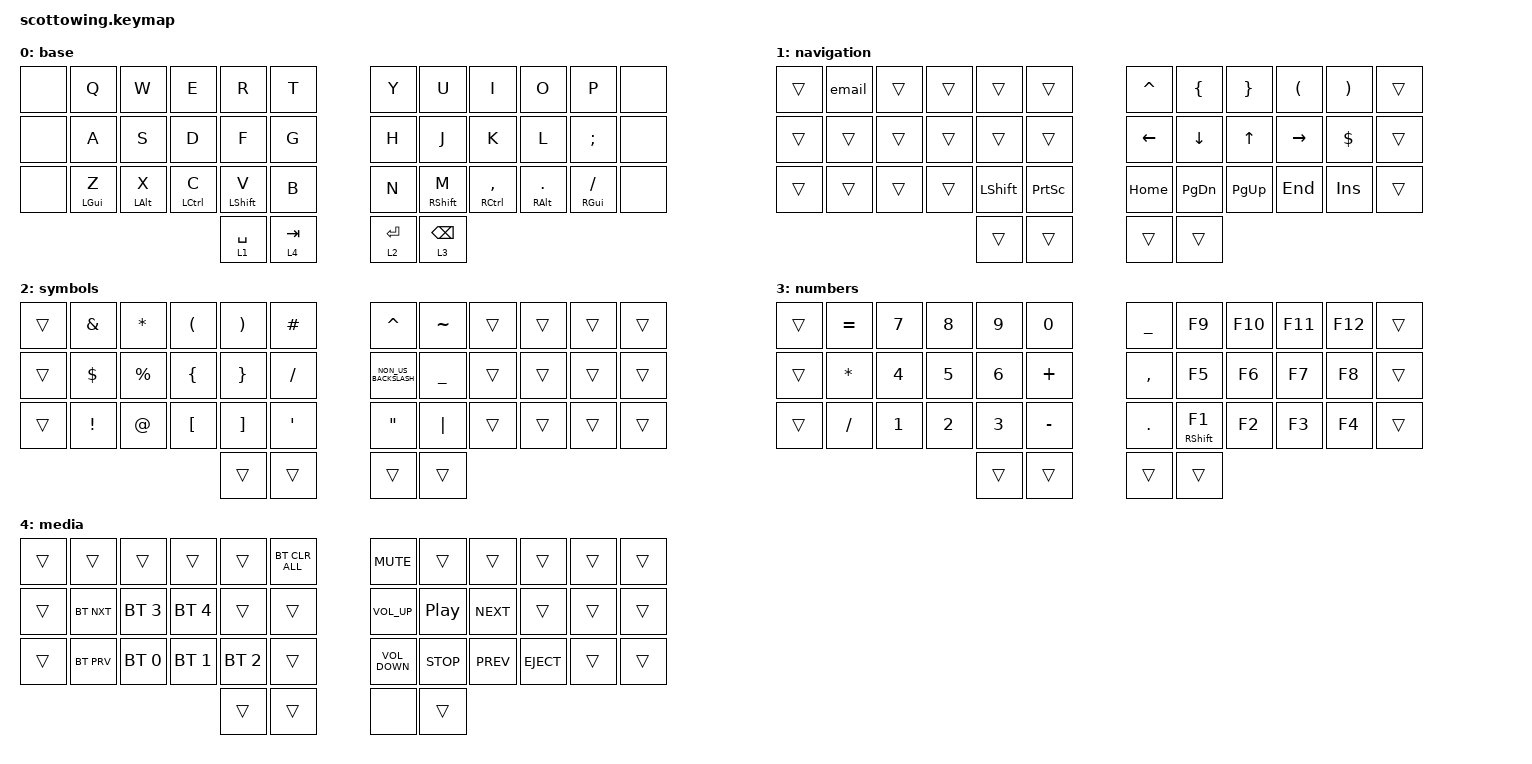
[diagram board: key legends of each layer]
#include <behaviors.dtsi>
#include <dt-bindings/zmk/bt.h>
#include <dt-bindings/zmk/keys.h>

#define MAC 0
#define MAC_CODE 1
#define MAC_NUMBER 2
#define MAC_FUNCTION 3
#define WINDOWS 4
#define WINDOWS_CODE 5
#define WINDOWS_NUMBER 6
#define WINDOWS_FUNCTION 7

// Home row mods macro
//#define HRML(k1,k2,k3,k4) &ht LSHFT k1  &ht LALT k2  &ht LCTRL k3  &ht LGUI k4

#define HRML(k1,k2,k3,k4) &ht LGUI k1  &ht LALT k2  &ht LCTRL k3  &ht LSHFT k4
#define HRMR(k1,k2,k3,k4) &ht RSHFT k1  &ht RCTRL k2  &ht RALT k3  &ht RGUI k4

//#define HRMR(k1,k2,k3,k4) &ht RGUI k1  &ht RCTRL k2  &ht RALT k3  &ht RSHFT k4

#define DEF 0
#define NAV 1
#define SYM 2
#define NUM 3
#define MED 4

/ {
    behaviors {
        ht: hold_tap {
            compatible = "zmk,behavior-hold-tap";
            #binding-cells = <2>;
            flavor = "tap-preferred";
            tapping-term-ms = <220>;
            quick-tap-ms = <150>;
            require-prior-idle-ms = <100>;
            bindings = <&kp>, <&kp>;
        };
    };

    combos {
        compatible = "zmk,combos";

        combo_esc {
            timeout-ms = <50>;

            // keys: R U

            key-positions = <4 3>;
            bindings = <&kp ESC>;
            layers = <0>;
        };

        combo_minus {
            timeout-ms = <50>;

            // keys: T Y

            key-positions = <5 6>;
            bindings = <&kp MINUS>;
            layers = <0>;
        };

        combo_backspace {
            timeout-ms = <50>;

            // keys: V M

            key-positions = <31 32>;
            bindings = <&kp BSPC>;
            layers = <0>;
        };

        combo_under {
            timeout-ms = <50>;

            // keys: B N

            key-positions = <29 30>;
            bindings = <&kp UNDER>;
            layers = <0>;
        };

        combo_capsw {
            timeout-ms = <50>;

            // keys: E I

            key-positions = <7 4>;
            bindings = <&caps_word>;
            layers = <0>;
        };

        conbo_tab {
            bindings = <&kp TAB>;
            key-positions = <27 28>;
            layers = <0>;
        };

        combo_delete {
            bindings = <&kp DEL>;
            key-positions = <7 8>;
        };
    };

    //    conditional_layers {
    //        compatible = "zmk,conditional-layers";
    //        tri_layer {
    //            if-layers = <1 2 3>;
    //            then-layer = <3>;
    //        };
    //    };

    macros {
        email: email {
            compatible = "zmk,behavior-macro";
            #binding-cells = <0>;
            bindings = <&kp P &kp T &kp R &kp S &kp H &kp O &kp P &kp P &kp I &kp N &kp G &kp AT &kp P &kp R &kp O &kp T &kp O &kp N &kp M &kp A &kp I &kp L &kp DOT &kp C &kp O &kp M>;
            label = "EMAIL";
        };
    };

    keymap {
        compatible = "zmk,keymap";

        base {
            bindings = <
&none  &kp Q           &kp W           &kp E        &kp R             &kp T      &kp Y        &kp U              &kp I            &kp O                 &kp P                &none
&none  &kp A           &kp S           &kp D        &kp F             &kp G      &kp H        &kp J              &kp K            &kp L                 &kp SEMICOLON        &none
&none  &mt LEFT_GUI Z  &mt LEFT_ALT X  &mt LCTRL C  &mt LEFT_SHIFT V  &kp B      &kp N        &mt RIGHT_SHIFT M  &mt RCTRL COMMA  &mt RIGHT_ALT PERIOD  &mt RIGHT_GUI SLASH  &none
                                                    &lt 1 SPACE       &lt 4 TAB  &lt 2 ENTER  &lt 3 BACKSPACE
            >;
        };

        navigation {
            bindings = <
&trans  &email  &trans  &trans  &trans          &trans           &kp CARET       &kp LEFT_BRACE  &kp RIGHT_BRACE  &kp LEFT_PARENTHESIS  &kp RIGHT_PARENTHESIS  &trans
&trans  &trans  &trans  &trans  &trans          &trans           &kp LEFT_ARROW  &kp DOWN        &kp UP           &kp RIGHT_ARROW       &kp DOLLAR             &trans
&trans  &trans  &trans  &trans  &kp LEFT_SHIFT  &kp PRINTSCREEN  &kp HOME        &kp PAGE_DOWN   &kp PAGE_UP      &kp END               &kp INS                &trans
                                &trans          &trans           &trans          &trans
            >;
        };

        symbols {
            bindings = <
&trans  &kp AMPERSAND    &kp ASTERISK  &kp LEFT_PARENTHESIS  &kp RIGHT_PARENTHESIS  &kp HASH          &kp CARET             &kp TILDE       &trans  &trans  &trans  &trans
&trans  &kp DOLLAR       &kp PERCENT   &kp LEFT_BRACE        &kp RIGHT_BRACE        &kp SLASH         &kp NON_US_BACKSLASH  &kp UNDERSCORE  &trans  &trans  &trans  &trans
&trans  &kp EXCLAMATION  &kp AT_SIGN   &kp LEFT_BRACKET      &kp RIGHT_BRACKET      &kp SINGLE_QUOTE  &kp DOUBLE_QUOTES     &kp PIPE        &trans  &trans  &trans  &trans
                                                             &trans                 &trans            &trans                &trans
            >;
        };

        numbers {
            bindings = <
&trans  &kp EQUAL     &kp N7        &kp N8        &kp N9        &kp NUMBER_0  &kp UNDERSCORE  &kp F9              &kp F10  &kp F11  &kp F12  &trans
&trans  &kp ASTERISK  &kp NUMBER_4  &kp N5        &kp NUMBER_6  &kp PLUS      &kp COMMA       &kp F5              &kp F6   &kp F7   &kp F8   &trans
&trans  &kp SLASH     &kp NUMBER_1  &kp NUMBER_2  &kp NUMBER_3  &kp MINUS     &kp PERIOD      &mt RIGHT_SHIFT F1  &kp F2   &kp F3   &kp F4   &trans
                                                  &trans        &trans        &trans          &trans
            >;
        };

        media {
            bindings = <
&trans  &trans      &trans        &trans        &trans        &bt BT_CLR_ALL  &kp C_MUTE         &trans            &trans      &trans       &trans  &trans
&trans  &bt BT_NXT  &bt BT_SEL 3  &bt BT_SEL 4  &trans        &trans          &kp C_VOLUME_UP    &kp C_PLAY_PAUSE  &kp C_NEXT  &trans       &trans  &trans
&trans  &bt BT_PRV  &bt BT_SEL 0  &bt BT_SEL 1  &bt BT_SEL 2  &trans          &kp C_VOLUME_DOWN  &kp C_STOP        &kp C_PREV  &kp C_EJECT  &trans  &trans
                                                &trans        &trans          &none              &trans
            >;
        };
    };
};
